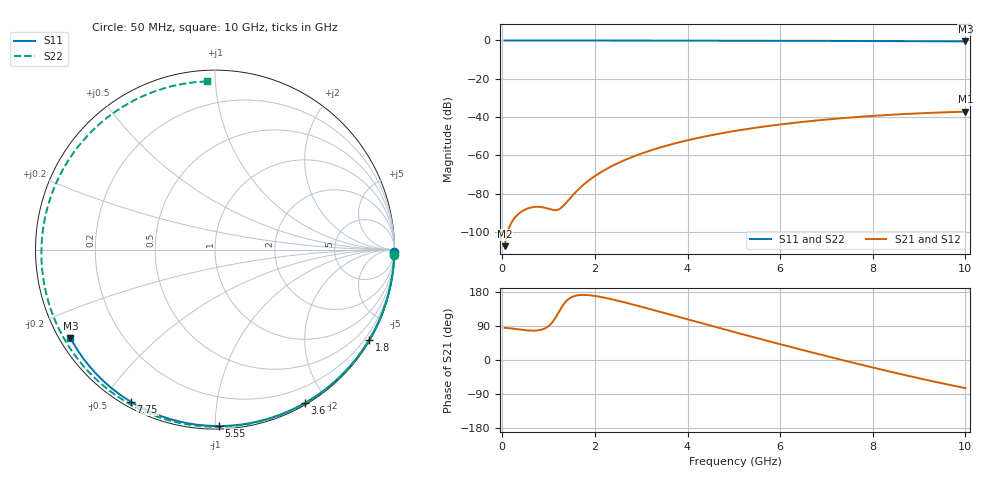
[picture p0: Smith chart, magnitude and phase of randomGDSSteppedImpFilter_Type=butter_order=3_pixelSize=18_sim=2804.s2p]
! freq	dB(S11)	phase(S11)	dB(S12)	phase(S12)
!  dB(S21)	phase(S21)	dB(S22)	phase(S22)
!S-par simulation data
#  GHz  S  DB  R 50
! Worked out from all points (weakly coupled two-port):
!   200 points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, 50 MHz to 10 GHz, reference 50 ohm
!   highest |S21| = -37.17 dB at 10 GHz (marker M1); lowest = -107.4 dB at 50 MHz (marker M2)
!   lowest |S11| = -0.5 dB at 10 GHz (marker M3), VSWR 34.61, Z = 1.56 - j14.1 ohm
!   |S11| at or under -10 dB: nowhere
!   |S22| runs from -0.6 to 0.0 dB; largest |S21 - S12| = 0
!   S11 on the Smith chart (normalised r, x): 50 MHz: open; 1.8 GHz: 0.03, -3.66; 3.6 GHz: 0.02, -1.75; 5.55 GHz: 0.02, -1.02; 7.75 GHz: 0.02, -0.59; 10 GHz: 0.03, -0.28
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0.05  -0.00 -0.8  -107.43 85.0  -107.43 85.0  -0.01 -1.6
0.4  -0.01 -6.9  -89.63 79.9  -89.63 79.9  -0.02 -13.4
0.75  -0.02 -12.8  -86.88 78.0  -86.88 78.0  -0.03 -25.1
1.15  -0.02 -19.6  -88.62 111.8  -88.62 111.8  -0.05 -38.2
1.55  -0.03 -26.4  -80.08 168.4  -80.08 168.4  -0.06 -50.9
1.75  -0.04 -29.7  -75.42 171.7  -75.42 171.7  -0.07 -57.1
1.8  -0.04 -30.5  -74.41 171.6  -74.41 171.6  -0.07 -58.6
2.1  -0.05 -35.5  -69.24 167.0  -69.24 167.0  -0.08 -67.8
2.45  -0.05 -41.2  -64.61 157.8  -64.61 157.8  -0.10 -78.1
2.9  -0.06 -48.5  -59.98 143.8  -59.98 143.8  -0.11 -90.9
3.4  -0.08 -56.4  -55.95 127.4  -55.95 127.4  -0.13 -104.5
3.6  -0.08 -59.5  -54.57 120.7  -54.57 120.7  -0.14 -109.7
4.35  -0.10 -71.0  -50.27 95.6  -50.27 95.6  -0.17 -128.8
5.05  -0.13 -81.4  -47.15 72.4  -47.15 72.4  -0.20 -145.8
5.55  -0.15 -88.6  -45.31 56.1  -45.31 56.1  -0.23 -157.6
6.15  -0.17 -97.1  -43.44 36.9  -43.44 36.9  -0.27 -171.6
6.7  -0.20 -104.7  -41.99 19.6  -41.99 19.6  -0.30 175.6
7.2  -0.24 -111.5  -40.87 4.2  -40.87 4.2  -0.34 163.8
7.75  -0.28 -118.9  -39.81 -12.4  -39.81 -12.4  -0.38 150.7
8.35  -0.33 -126.8  -38.87 -30.0  -38.87 -30.0  -0.43 136.0
9.2  -0.41 -138.0  -37.84 -53.6  -37.84 -53.6  -0.50 114.3
10  -0.50 -148.6  -37.17 -74.3  -37.17 -74.3  -0.56 92.9
